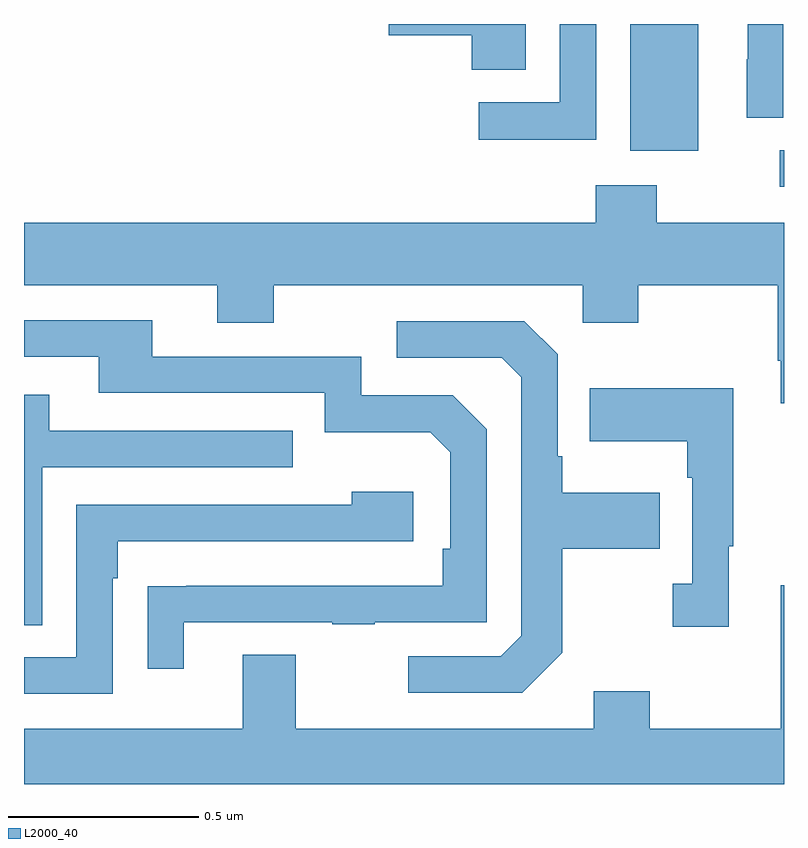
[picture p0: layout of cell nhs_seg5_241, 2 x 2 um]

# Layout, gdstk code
import gdstk
lib = gdstk.Library(unit=1e-6, precision=1e-09)
def R(c, l, rs):  # rectangles x0, y0, x1, y1
    for r in rs: c.add(gdstk.rectangle(r[:2], r[2:], *l))
def P(c, l, *ps):  # polygons
    for p in ps: c.add(gdstk.Polygon(p, *l))
L2000_40 = (2000, 40)

nhs_seg5_241 = lib.new_cell('nhs_seg5_241')
R(nhs_seg5_241, L2000_40, [(115.989,838.371,116,838.467), (115.595,838.466,115.774,838.799)])
P(nhs_seg5_241, L2000_40, [(115.506,838.799),(115.41,838.799),(115.41,838.593),(115.197,838.593),(115.197,838.495),(115.506,838.495)],
  [(115.998,838.799),(115.904,838.799),(115.904,838.706),(115.902,838.706),(115.902,838.552),(115.998,838.552)],
  [(115.321,838.799),(114.96,838.799),(114.96,838.769),(115.178,838.769),(115.178,838.678),(115.321,838.678)],
  [(116,838.276),(115.665,838.276),(115.665,838.375),(115.505,838.375),(115.505,838.276),(114,838.276),(114,838.112),(114.509,838.112),(114.509,838.013),(114.657,838.013),(114.657,838.112),(115.47,838.112),(115.47,838.013),(115.617,838.013),(115.617,838.112),(115.984,838.112),(115.984,837.913),(115.991,837.913),(115.991,837.801),(116,837.801)],
  [(114.421,837.225),(114.811,837.225),(114.811,837.22),(114.923,837.22),(114.923,837.225),(115.218,837.225),(115.218,837.732),(115.128,837.822),(114.888,837.822),(114.888,837.924),(114.337,837.924),(114.337,838.02),(114,838.02),(114,837.924),(114.197,837.924),(114.197,837.828),(114.792,837.828),(114.792,837.725),(115.069,837.725),(115.122,837.672),(115.122,837.418),(115.102,837.418),(115.102,837.321),(114.427,837.321),(114.427,837.32),(114.325,837.32),(114.325,837.102),(114.421,837.102)],
  [(115.417,837.145),(115.417,837.418),(115.673,837.418),(115.673,837.565),(115.417,837.565),(115.417,837.661),(115.404,837.661),(115.404,837.93),(115.317,838.017),(114.981,838.017),(114.981,837.921),(115.257,837.921),(115.308,837.87),(115.308,837.189),(115.254,837.135),(115.011,837.135),(115.011,837.039),(115.311,837.039)],
  [(115.855,837.425),(115.867,837.425),(115.867,837.841),(115.489,837.841),(115.489,837.701),(115.746,837.701),(115.746,837.605),(115.758,837.605),(115.758,837.326),(115.707,837.326),(115.707,837.213),(115.855,837.213)],
  [(114.048,837.633),(114.707,837.633),(114.707,837.729),(114.067,837.729),(114.067,837.823),(114,837.823),(114,837.217),(114.048,837.217)],
  [(114.234,837.341),(114.247,837.341),(114.247,837.438),(115.024,837.438),(115.024,837.568),(114.863,837.568),(114.863,837.534),(114.138,837.534),(114.138,837.132),(114,837.132),(114,837.036),(114.234,837.036)],
  [(116,837.322),(115.991,837.322),(115.991,836.944),(115.647,836.944),(115.647,837.043),(115.499,837.043),(115.499,836.944),(114.715,836.944),(114.715,837.139),(114.575,837.139),(114.575,836.944),(114,836.944),(114,836.799),(116,836.799)])

lib.write_gds('nhs_seg5_241.gds')
